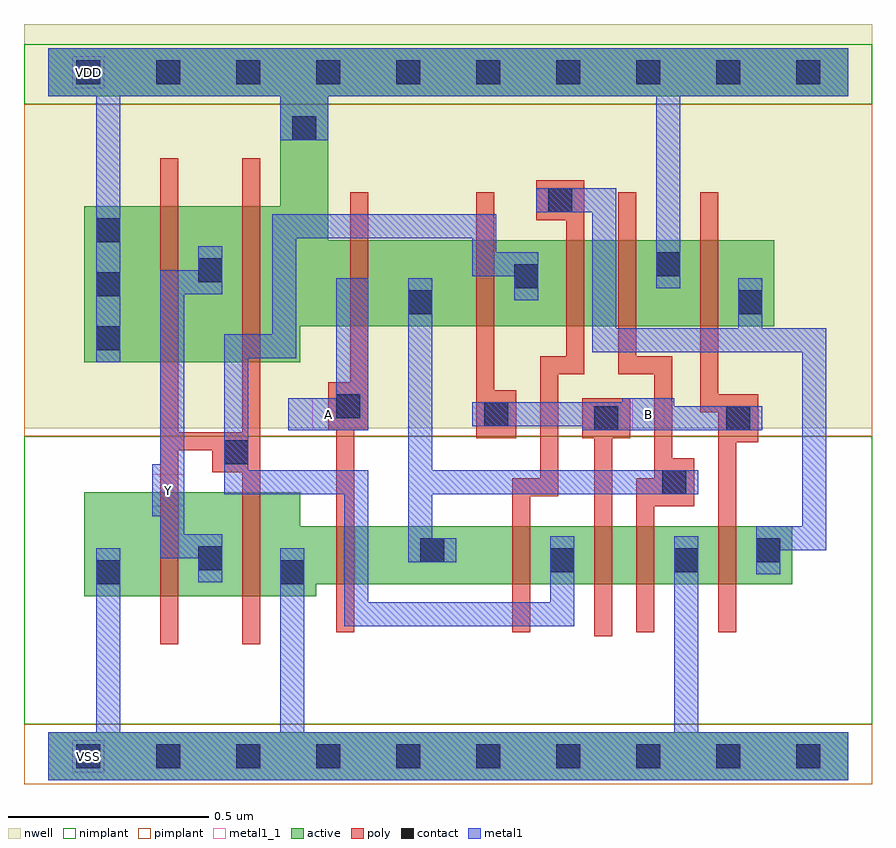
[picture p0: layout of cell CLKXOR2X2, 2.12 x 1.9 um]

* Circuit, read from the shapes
.subckt CLKXOR2X2 A B VDD VSS Y
M1 Y n1 VSS VSS nfet w=0.26u l=0.045u m=2
M2 n2 A VSS VSS nfet w=0.145u l=0.045u
M3 n1 n3 n2 VSS nfet w=0.145u l=0.045u
M4 n4 B n1 VSS nfet w=0.145u l=0.045u
M5 VSS n2 n4 VSS nfet w=0.145u l=0.045u
M6 n3 B VSS VSS nfet w=0.145u l=0.045u
M7 Y n1 VDD VDD pfet w=0.39u l=0.045u m=2
M8 n2 A VDD VDD pfet w=0.215u l=0.045u
M9 n1 B n2 VDD pfet w=0.215u l=0.045u
M10 n5 n3 n1 VDD pfet w=0.215u l=0.045u
M11 VDD n2 n5 VDD pfet w=0.215u l=0.045u
M12 n3 B VDD VDD pfet w=0.215u l=0.045u
.ends

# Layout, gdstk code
import gdstk
lib = gdstk.Library(unit=1e-6, precision=5e-10)
def R(c, l, rs):  # rectangles x0, y0, x1, y1
    for r in rs: c.add(gdstk.rectangle(r[:2], r[2:], *l))
def A(c, l, x, y, w, h, nx, ny, dx, dy):  # array of equal rectangles
    R(c, l, [(x+i*dx, y+j*dy, x+i*dx+w, y+j*dy+h) for i in range(nx) for j in range(ny)])
def P(c, l, *ps):  # polygons
    for p in ps: c.add(gdstk.Polygon(p, *l))
active = (1, 0)
nwell = (2, 0)
poly = (3, 0)
nimplant = (4, 0)
pimplant = (5, 0)
contact = (6, 0)
metal1 = (7, 0)
metal1_1 = (7, 1)

clkxor2x2 = lib.new_cell('CLKXOR2X2')
R(clkxor2x2, active, [(0,-0.06,2,0.06)])
P(clkxor2x2, active, [(0,1.77),(2,1.77),(2,1.65),(0.7,1.65),(0.7,1.29),(1.815,1.29),(1.815,1.075),(0.63,1.075),(0.63,0.985),(0.09,0.985),(0.09,1.375),(0.58,1.375),(0.58,1.65),(0,1.65)],
  [(0.09,0.66),(0.63,0.66),(0.63,0.575),(1.86,0.575),(1.86,0.43),(0.67,0.43),(0.67,0.4),(0.09,0.4)])
R(clkxor2x2, nwell, [(-0.06,0.82,2.06,1.83)])
P(clkxor2x2, poly, [(0.28,1.495),(0.325,1.495),(0.325,0.81),(0.485,0.81),(0.485,1.495),(0.53,1.495),(0.53,0.28),(0.485,0.28),(0.485,0.71),(0.41,0.71),(0.41,0.765),(0.325,0.765),(0.325,0.28),(0.28,0.28)],
  [(1.22,1.44),(1.34,1.44),(1.34,0.955),(1.275,0.955),(1.275,0.65),(1.205,0.65),(1.205,0.31),(1.16,0.31),(1.16,0.695),(1.23,0.695),(1.23,1),(1.295,1),(1.295,1.34),(1.22,1.34)],
  [(0.755,1.41),(0.8,1.41),(0.8,0.815),(0.765,0.815),(0.765,0.31),(0.72,0.31),(0.72,0.815),(0.7,0.815),(0.7,0.935),(0.755,0.935)],
  [(1.07,1.41),(1.115,1.41),(1.115,0.915),(1.17,0.915),(1.17,0.795),(1.07,0.795)],
  [(1.425,1.41),(1.47,1.41),(1.47,1),(1.56,1),(1.56,0.745),(1.615,0.745),(1.615,0.625),(1.515,0.625),(1.515,0.31),(1.47,0.31),(1.47,0.695),(1.515,0.695),(1.515,0.955),(1.425,0.955)],
  [(1.63,1.41),(1.675,1.41),(1.675,0.905),(1.775,0.905),(1.775,0.785),(1.72,0.785),(1.72,0.31),(1.675,0.31),(1.675,0.86),(1.63,0.86)],
  [(1.335,0.895),(1.455,0.895),(1.455,0.795),(1.41,0.795),(1.41,0.3),(1.365,0.3),(1.365,0.795),(1.335,0.795)])
R(clkxor2x2, nimplant, [(-0.06,0.08,2.06,0.8), (-0.06,1.63,2.06,1.78)])
R(clkxor2x2, pimplant, [(-0.06,-0.07,2.06,0.08), (-0.06,0.8,2.06,1.63)])
A(clkxor2x2, contact, 0.07, -0.03, 0.06, 0.06, 10, 2, 0.2, 1.71)
A(clkxor2x2, contact, 0.12, 1.015, 0.06, 0.06, 1, 3, 0, 0.135)
R(clkxor2x2, contact, [(0.12,0.43,0.18,0.49), (0.58,0.43,0.64,0.49), (1.255,0.46,1.315,0.52), (1.565,0.46,1.625,0.52), (0.375,0.465,0.435,0.525), (0.93,0.485,0.99,0.545), (1.77,0.485,1.83,0.545), (1.535,0.655,1.595,0.715), (0.44,0.73,0.5,0.79), (1.365,0.815,1.425,0.875), (1.695,0.815,1.755,0.875), (1.09,0.825,1.15,0.885), (0.72,0.845,0.78,0.905), (0.9,1.105,0.96,1.165), (1.725,1.105,1.785,1.165), (1.165,1.17,1.225,1.23), (0.375,1.185,0.435,1.245), (1.52,1.2,1.58,1.26), (1.25,1.36,1.31,1.42), (0.61,1.54,0.67,1.6)])
P(clkxor2x2, metal1, [(0,1.77),(2,1.77),(2,1.65),(1.58,1.65),(1.58,1.17),(1.52,1.17),(1.52,1.65),(0.7,1.65),(0.7,1.54),(0.58,1.54),(0.58,1.65),(0.18,1.65),(0.18,0.985),(0.12,0.985),(0.12,1.65),(0,1.65)],
  [(0.375,1.275),(0.435,1.275),(0.435,1.155),(0.34,1.155),(0.34,0.555),(0.435,0.555),(0.435,0.435),(0.375,0.435),(0.375,0.495),(0.28,0.495),(0.28,0.6),(0.26,0.6),(0.26,0.73),(0.28,0.73),(0.28,1.215),(0.375,1.215)],
  [(1.22,1.42),(1.42,1.42),(1.42,1.07),(1.725,1.07),(1.725,1.195),(1.785,1.195),(1.785,1.07),(1.945,1.07),(1.945,0.515),(1.83,0.515),(1.83,0.455),(1.77,0.455),(1.77,0.575),(1.885,0.575),(1.885,1.01),(1.36,1.01),(1.36,1.36),(1.22,1.36)],
  [(0.56,1.355),(1.12,1.355),(1.12,1.26),(1.225,1.26),(1.225,1.14),(1.165,1.14),(1.165,1.2),(1.06,1.2),(1.06,1.295),(0.62,1.295),(0.62,0.995),(0.5,0.995),(0.5,0.715),(0.8,0.715),(0.8,0.385),(1.255,0.385),(1.255,0.55),(1.315,0.55),(1.315,0.325),(0.74,0.325),(0.74,0.655),(0.44,0.655),(0.44,1.055),(0.56,1.055)],
  [(0.9,1.195),(0.96,1.195),(0.96,0.715),(1.625,0.715),(1.625,0.655),(0.96,0.655),(0.96,0.545),(1.02,0.545),(1.02,0.485),(0.9,0.485)],
  [(0.72,1.195),(0.8,1.195),(0.8,0.815),(0.6,0.815),(0.6,0.895),(0.72,0.895)],
  [(0.12,0.52),(0.18,0.52),(0.18,0.06),(0.58,0.06),(0.58,0.52),(0.64,0.52),(0.64,0.06),(1.565,0.06),(1.565,0.55),(1.625,0.55),(1.625,0.06),(2,0.06),(2,-0.06),(0,-0.06),(0,0.06),(0.12,0.06)],
  [(1.435,0.895),(1.565,0.895),(1.565,0.875),(1.785,0.875),(1.785,0.815),(1.335,0.815),(1.335,0.825),(1.06,0.825),(1.06,0.885),(1.435,0.885)])
R(clkxor2x2, metal1_1, [(0.06,-0.04,0.14,0.04), (0.26,0.625,0.34,0.705), (0.66,0.815,0.74,0.895), (1.46,0.815,1.54,0.895), (0.06,1.67,0.14,1.75)])
clkxor2x2.add(gdstk.Label('Y', (0.3,0.665), layer=7, texttype=1))
clkxor2x2.add(gdstk.Label('B', (1.5,0.855), layer=7, texttype=1))
clkxor2x2.add(gdstk.Label('A', (0.7,0.855), layer=7, texttype=1))
clkxor2x2.add(gdstk.Label('VDD', (0.1,1.71), layer=7, texttype=1))
clkxor2x2.add(gdstk.Label('VSS', (0.1,0), layer=7, texttype=1))
clkxor2x2.add(gdstk.Label('CLKXOR2X2', (0,0), layer=63, texttype=0))

lib.write_gds('CLKXOR2X2.gds')
